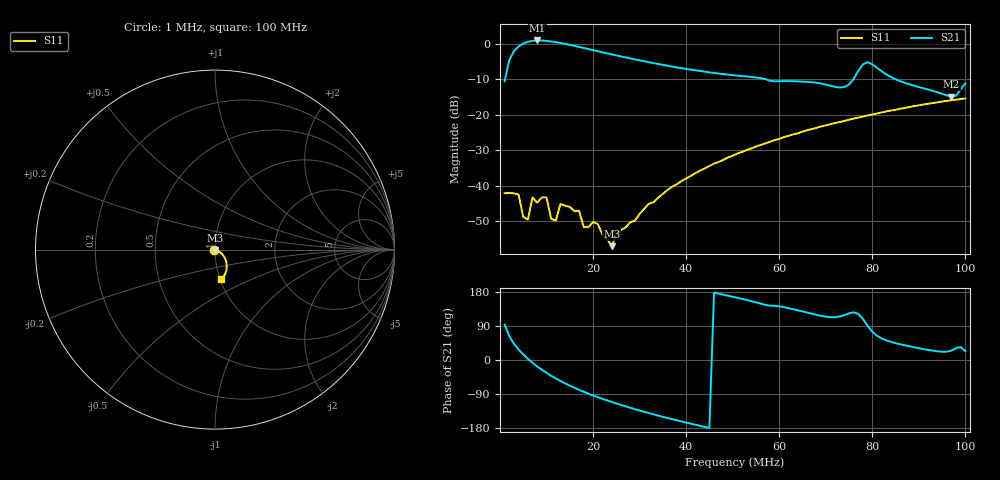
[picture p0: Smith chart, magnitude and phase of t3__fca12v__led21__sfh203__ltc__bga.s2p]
# HZ S RI R 50
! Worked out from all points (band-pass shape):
!   100 points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, 1 MHz to 100 MHz, reference 50 ohm
!   highest |S21| = 0.94 dB at 8 MHz (marker M1); lowest = -14.9 dB at 97 MHz (marker M2)
!   |S21| within 3 dB of the highest: 3.043 MHz to 20.9 MHz (17.85 MHz wide, 149 % of centre)
!   lowest |S11| = -57.1 dB at 24 MHz (marker M3), VSWR 1.00, Z = 50 - j0.138 ohm
!   |S11| at or under -10 dB: start of sweep to end of sweep
!   S12 and S22 are empty: the file has one direction only
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1000001  -0.00778 -0.000231  -0.0193 0.2946  0 0  0 0
3000001  -0.00775 0.000303  0.5727 0.5344  0 0  0 0
6000001  -0.00293 0.00153  1.064 0.0576  0 0  0 0
7000001  -0.00681 -2.14e-05  1.09 -0.1403  0 0  0 0
8000001  -0.00484 0.00305  1.065 -0.326  0 0  0 0
1e7  -0.00674 -0.000892  0.9102 -0.6119  0 0  0 0
1.1e7  -0.00329 -0.000841  0.8058 -0.7162  0 0  0 0
1.2e7  -0.00262 -0.00183  0.6958 -0.7909  0 0  0 0
1.3e7  -0.00547 -0.000572  0.5848 -0.8432  0 0  0 0
1.7e7  -0.00429 -0.000942  0.179 -0.8861  0 0  0 0
1.8e7  -0.00257 -0.000336  0.0944 -0.8677  0 0  0 0
2.1e7  -0.00251 -0.00141  -0.1086 -0.7782  0 0  0 0
2.4e7  -0.000166 -0.00138  -0.2518 -0.6631  0 0  0 0
3.4e7  0.00563 -0.00373  -0.4332 -0.2851  0 0  0 0
5.1e7  0.0251 -0.0129  -0.3421 0.0972  0 0  0 0
6.7e7  0.0496 -0.038  -0.153 0.243  0 0  0 0
7.4e7  0.0587 -0.057  -0.117 0.2157  0 0  0 0
7.7e7  0.0619 -0.0668  -0.2173 0.3521  0 0  0 0
7.9e7  0.0635 -0.0739  -0.000552 0.5491  0 0  0 0
8.4e7  0.0654 -0.0937  0.2279 0.2532  0 0  0 0
9.7e7  0.046 -0.1528  0.1625 0.075  0 0  0 0
1e8  0.0347 -0.1657  0.2531 0.1106  0 0  0 0
